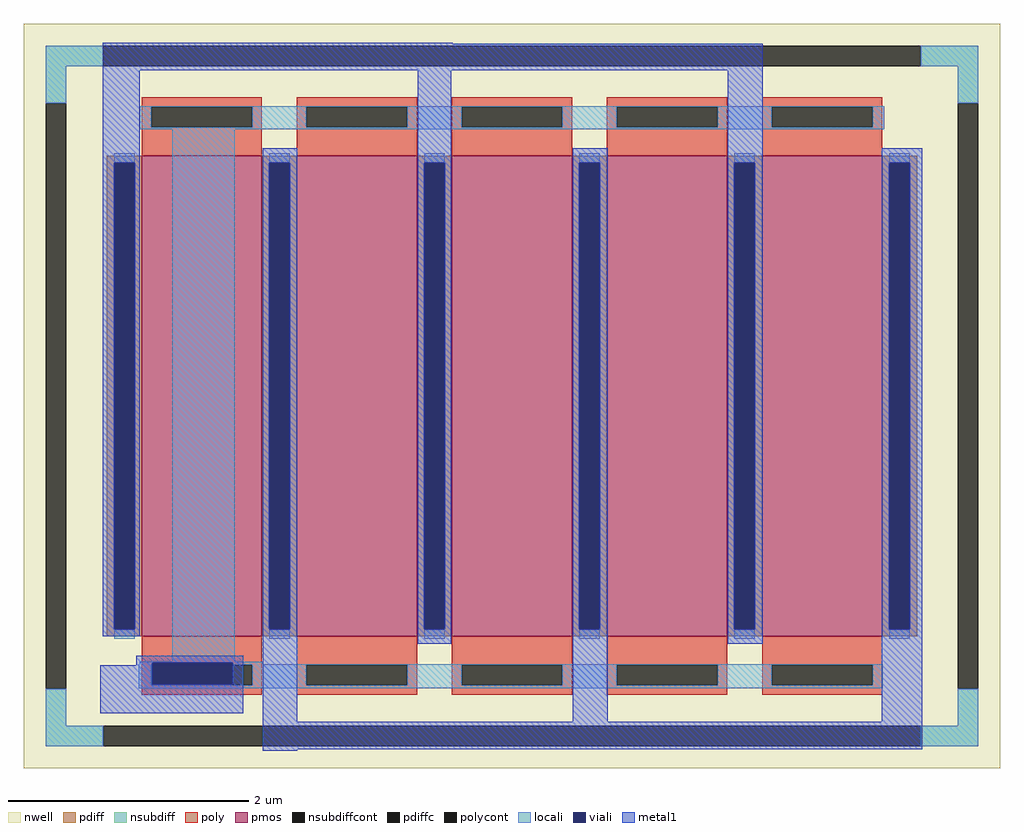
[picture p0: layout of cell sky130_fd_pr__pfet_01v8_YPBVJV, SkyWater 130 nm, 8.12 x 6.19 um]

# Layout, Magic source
magic
tech sky130A
magscale 1 2
<< nwell >>
rect -812 -619 812 619
<< pmos >>
rect -616 -400 -416 400
rect -358 -400 -158 400
rect -100 -400 100 400
rect 158 -400 358 400
rect 416 -400 616 400
<< pdiff >>
rect -674 388 -616 400
rect -674 -388 -662 388
rect -628 -388 -616 388
rect -674 -400 -616 -388
rect -416 388 -358 400
rect -416 -388 -404 388
rect -370 -388 -358 388
rect -416 -400 -358 -388
rect -158 388 -100 400
rect -158 -388 -146 388
rect -112 -388 -100 388
rect -158 -400 -100 -388
rect 100 388 158 400
rect 100 -388 112 388
rect 146 -388 158 388
rect 100 -400 158 -388
rect 358 388 416 400
rect 358 -388 370 388
rect 404 -388 416 388
rect 358 -400 416 -388
rect 616 388 674 400
rect 616 -388 628 388
rect 662 -388 674 388
rect 616 -400 674 -388
<< pdiffc >>
rect -662 -388 -628 388
rect -404 -388 -370 388
rect -146 -388 -112 388
rect 112 -388 146 388
rect 370 -388 404 388
rect 628 -388 662 388
<< nsubdiff >>
rect -776 549 -680 583
rect 680 549 776 583
rect -776 487 -742 549
rect 742 487 776 549
rect -776 -549 -742 -487
rect 742 -549 776 -487
rect -776 -583 -680 -549
rect 680 -583 776 -549
<< nsubdiffcont >>
rect -680 549 680 583
rect -776 -487 -742 487
rect 742 -487 776 487
rect -680 -583 680 -549
<< poly >>
rect -616 481 -416 497
rect -616 447 -600 481
rect -432 447 -416 481
rect -616 400 -416 447
rect -358 481 -158 497
rect -358 447 -342 481
rect -174 447 -158 481
rect -358 400 -158 447
rect -100 481 100 497
rect -100 447 -84 481
rect 84 447 100 481
rect -100 400 100 447
rect 158 481 358 497
rect 158 447 174 481
rect 342 447 358 481
rect 158 400 358 447
rect 416 481 616 497
rect 416 447 432 481
rect 600 447 616 481
rect 416 400 616 447
rect -616 -447 -416 -400
rect -616 -481 -600 -447
rect -432 -481 -416 -447
rect -616 -497 -416 -481
rect -358 -447 -158 -400
rect -358 -481 -342 -447
rect -174 -481 -158 -447
rect -358 -497 -158 -481
rect -100 -447 100 -400
rect -100 -481 -84 -447
rect 84 -481 100 -447
rect -100 -497 100 -481
rect 158 -447 358 -400
rect 158 -481 174 -447
rect 342 -481 358 -447
rect 158 -497 358 -481
rect 416 -447 616 -400
rect 416 -481 432 -447
rect 600 -481 616 -447
rect 416 -497 616 -481
<< polycont >>
rect -600 447 -432 481
rect -342 447 -174 481
rect -84 447 84 481
rect 174 447 342 481
rect 432 447 600 481
rect -600 -481 -432 -447
rect -342 -481 -174 -447
rect -84 -481 84 -447
rect 174 -481 342 -447
rect 432 -481 600 -447
<< locali >>
rect -776 549 -680 583
rect 680 549 776 583
rect -776 487 -742 549
rect 742 487 776 549
rect -619 481 619 482
rect -619 447 -600 481
rect -432 447 -342 481
rect -174 447 -84 481
rect 84 447 174 481
rect 342 447 432 481
rect 600 447 619 481
rect -619 444 619 447
rect -662 388 -628 404
rect -662 -404 -628 -388
rect -565 -442 -461 444
rect -404 388 -370 404
rect -404 -404 -370 -388
rect -146 388 -112 404
rect -146 -404 -112 -388
rect 112 388 146 404
rect 112 -404 146 -388
rect 370 388 404 404
rect 370 -404 404 -388
rect 628 388 662 404
rect 628 -404 662 -388
rect -619 -444 -415 -442
rect -619 -446 -599 -444
rect -621 -447 -599 -446
rect -465 -446 -415 -444
rect -465 -447 617 -446
rect -621 -481 -600 -447
rect -432 -481 -342 -447
rect -174 -481 -84 -447
rect 84 -481 174 -447
rect 342 -481 432 -447
rect 600 -481 617 -447
rect -621 -486 617 -481
rect -776 -549 -742 -487
rect 742 -549 776 -487
rect -776 -583 -680 -549
rect 680 -583 776 -549
<< viali >>
rect -662 -388 -628 388
rect -404 -388 -370 388
rect -146 -388 -112 388
rect 112 -388 146 388
rect 370 -388 404 388
rect 628 -388 662 388
rect -599 -447 -465 -444
rect -599 -480 -465 -447
<< metal1 >>
rect -681 586 -99 588
rect -681 542 417 586
rect -681 388 -619 542
rect -681 -388 -662 388
rect -628 -388 -619 388
rect -681 -400 -619 -388
rect -415 388 -357 412
rect -415 -388 -404 388
rect -370 -388 -357 388
rect -625 -444 -447 -432
rect -625 -448 -599 -444
rect -685 -480 -599 -448
rect -465 -480 -447 -444
rect -685 -528 -447 -480
rect -415 -542 -357 -388
rect -157 388 -101 542
rect -157 -388 -146 388
rect -112 -388 -101 388
rect -157 -412 -101 -388
rect 101 388 159 412
rect 101 -388 112 388
rect 146 -388 159 388
rect 101 -542 159 -388
rect 359 388 417 542
rect 359 -388 370 388
rect 404 -388 417 388
rect 359 -412 417 -388
rect 615 388 683 412
rect 615 -388 628 388
rect 662 -388 683 388
rect 615 -542 683 -388
rect -415 -588 683 -542
rect -415 -590 -357 -588
<< properties >>
string FIXED_BBOX -759 -566 759 566
string gencell sky130_fd_pr__pfet_01v8
string library sky130
string parameters w 4 l 1 m 1 nf 5 diffcov 100 polycov 100 guard 1 glc 1 grc 1 gtc 1 gbc 1 tbcov 100 rlcov 100 topc 1 botc 1 poverlap 0 doverlap 1 lmin 0.15 wmin 0.42 class mosfet compatible {sky130_fd_pr__pfet_01v8  sky130_fd_pr__pfet_01v8_lvt sky130_fd_pr__pfet_01v8_hvt  sky130_fd_pr__pfet_g5v0d10v5} full_metal 1 conn_gates 0 viasrc 100 viadrn 100 viagate 100 viagb 0 viagr 0 viagl 0 viagt 0 doports 1
<< end >>
